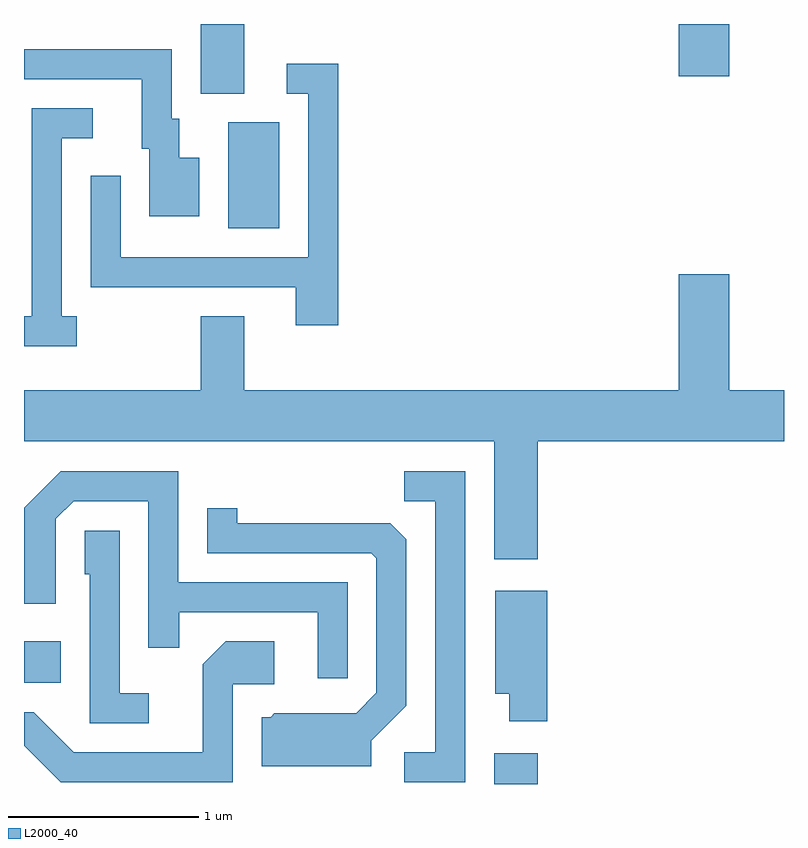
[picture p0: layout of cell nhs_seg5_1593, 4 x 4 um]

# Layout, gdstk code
import gdstk
lib = gdstk.Library(unit=1e-6, precision=1e-09)
def R(c, l, rs):  # rectangles x0, y0, x1, y1
    for r in rs: c.add(gdstk.rectangle(r[:2], r[2:], *l))
def P(c, l, *ps):  # polygons
    for p in ps: c.add(gdstk.Polygon(p, *l))
L2000_40 = (2000, 40)

nhs_seg5_1593 = lib.new_cell('nhs_seg5_1593')
R(nhs_seg5_1593, L2000_40, [(234.086,1486.072,234.314,1486.234), (231.611,1486.606,231.804,1486.824), (232.686,1488.996,232.954,1489.554), (232.541,1489.706,232.769,1490.072), (235.056,1489.796,235.324,1490.072)])
P(nhs_seg5_1593, L2000_40, [(232.534,1489.369),(232.429,1489.369),(232.429,1489.574),(232.389,1489.574),(232.389,1489.939),(231.611,1489.939),(231.611,1489.781),(232.231,1489.781),(232.231,1489.416),(232.271,1489.416),(232.271,1489.061),(232.534,1489.061)],
  [(233.264,1489.864),(232.993,1489.864),(232.993,1489.706),(233.106,1489.706),(233.106,1488.844),(232.119,1488.844),(232.119,1489.273),(231.961,1489.273),(231.961,1488.686),(233.041,1488.686),(233.041,1488.486),(233.264,1488.486)],
  [(231.888,1488.534),(231.809,1488.534),(231.809,1489.471),(231.973,1489.471),(231.973,1489.629),(231.651,1489.629),(231.651,1488.534),(231.611,1488.534),(231.611,1488.376),(231.888,1488.376)],
  [(234.314,1487.876),(235.611,1487.876),(235.611,1488.144),(235.324,1488.144),(235.324,1488.754),(235.056,1488.754),(235.056,1488.144),(232.769,1488.144),(232.769,1488.534),(232.541,1488.534),(232.541,1488.144),(231.611,1488.144),(231.611,1487.876),(234.086,1487.876),(234.086,1487.256),(234.314,1487.256)],
  [(233.934,1487.719),(233.613,1487.719),(233.613,1487.561),(233.776,1487.561),(233.776,1486.239),(233.613,1486.239),(233.613,1486.081),(233.934,1486.081)],
  [(233.314,1487.134),(232.424,1487.134),(232.424,1487.719),(231.804,1487.719),(231.611,1487.526),(231.611,1487.021),(231.779,1487.021),(231.779,1487.469),(231.872,1487.561),(232.266,1487.561),(232.266,1486.788),(232.429,1486.788),(232.429,1486.976),(233.156,1486.976),(233.156,1486.628),(233.314,1486.628)],
  [(233.439,1486.299),(233.624,1486.484),(233.624,1487.359),(233.539,1487.444),(232.734,1487.444),(232.734,1487.523),(232.576,1487.523),(232.576,1487.286),(233.439,1487.286),(233.466,1487.259),(233.466,1486.552),(233.359,1486.444),(232.929,1486.444),(232.909,1486.424),(232.861,1486.424),(232.861,1486.166),(233.439,1486.166)],
  [(232.268,1486.549),(232.114,1486.549),(232.114,1487.404),(231.931,1487.404),(231.931,1487.176),(231.956,1487.176),(231.956,1486.391),(232.268,1486.391)],
  [(234.364,1487.089),(234.091,1487.089),(234.091,1486.546),(234.166,1486.546),(234.166,1486.401),(234.364,1486.401)],
  [(232.709,1486.596),(232.929,1486.596),(232.929,1486.824),(232.674,1486.824),(232.551,1486.702),(232.551,1486.239),(231.872,1486.239),(231.662,1486.449),(231.611,1486.449),(231.611,1486.274),(231.804,1486.081),(232.709,1486.081)])

lib.write_gds('nhs_seg5_1593.gds')
